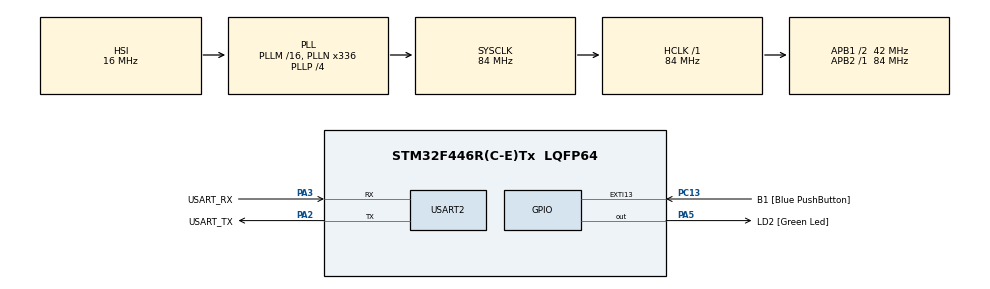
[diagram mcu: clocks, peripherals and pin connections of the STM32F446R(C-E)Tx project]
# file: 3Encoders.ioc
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Mcu.Family=STM32F4
Mcu.Name=STM32F446R(C-E)Tx
Mcu.Package=LQFP64
NVIC.PriorityGroup=NVIC_PRIORITYGROUP_0
PA13.GPIO_Label=TMS
PA13.Mode=Serial_Wire
PA13.Signal=SYS_JTMS-SWDIO
PA14.GPIO_Label=TCK
PA14.Mode=Serial_Wire
PA14.Signal=SYS_JTCK-SWCLK
PA2.GPIO_Label=USART_TX
PA2.Mode=Asynchronous
PA2.Signal=USART2_TX
PA3.GPIO_Label=USART_RX
PA3.Mode=Asynchronous
PA3.Signal=USART2_RX
PA5.GPIO_Label=LD2 [Green Led]
PA5.Signal=GPIO_Output
PB3.GPIO_Label=SWO
PB3.Signal=SYS_JTDO-SWO
PC13.GPIO_Label=B1 [Blue PushButton]
PC13.GPIO_ModeDefaultEXTI=GPIO_MODE_IT_FALLING
PC13.Signal=GPXTI13
PC14-OSC32_IN.Mode=LSE-External-Oscillator
PC14-OSC32_IN.Signal=RCC_OSC32_IN
PC15-OSC32_OUT.Mode=LSE-External-Oscillator
PC15-OSC32_OUT.Signal=RCC_OSC32_OUT
PH0-OSC_IN.Mode=HSE-External-Oscillator
PH0-OSC_IN.Signal=RCC_OSC_IN
PH1-OSC_OUT.Mode=HSE-External-Oscillator
PH1-OSC_OUT.Signal=RCC_OSC_OUT
ProjectManager.HeapSize=0x200
ProjectManager.StackSize=0x400
ProjectManager.TargetToolchain=STM32CubeIDE
RCC.48MHZClocksFreq_Value=84000000
RCC.AHBFreq_Value=84000000
RCC.APB1CLKDivider=RCC_HCLK_DIV2
RCC.APB1Freq_Value=42000000
RCC.APB1TimFreq_Value=84000000
RCC.APB2Freq_Value=84000000
RCC.APB2TimFreq_Value=84000000
RCC.CortexFreq_Value=84000000
RCC.FLatency-AdvancedSettings=FLASH_LATENCY_2
RCC.HCLKFreq_Value=84000000
RCC.HSE_VALUE=8000000
RCC.HSI_VALUE=16000000
RCC.PLLN=336
RCC.PLLP=RCC_PLLP_DIV4
RCC.SYSCLKFreq_VALUE=84000000
RCC.SYSCLKSource=RCC_SYSCLKSOURCE_PLLCLK
RCC.USBFreq_Value=168000000
RCC.VCOOutputFreq_Value=336000000
USART2.VirtualMode=VM_ASYNC
board=NUCLEO-F446RE

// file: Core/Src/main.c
/* USER CODE BEGIN Header */
/**
 ******************************************************************************
 * @file           : main.c
 * @brief          : Main program body
 ******************************************************************************
 * @attention
 *
 * Copyright (c) 2025 STMicroelectronics.
 * All rights reserved.
 *
 * This software is licensed under terms that can be found in the LICENSE file
 * in the root directory of this software component.
 * If no LICENSE file comes with this software, it is provided AS-IS.
 *
 ******************************************************************************
 */
/* USER CODE END Header */
#include "main.h"

/* USER CODE BEGIN Includes */
#include <stdio.h>
/* USER CODE END Includes */

UART_HandleTypeDef huart2;

void SystemClock_Config(void);
static void MX_GPIO_Init(void);
static void MX_USART2_UART_Init(void);

/* USER CODE BEGIN 0 */

void Channel_A_Config(void) {
	uint32_t *pAHB1ClkCtrlReg = (uint32_t*) 0x40023830; // address of AHB1 clock control register
	uint32_t *pAFRLPortAReg = (uint32_t*) 0x40020024; // address of alternate function register of port A
	uint32_t *pPortAModeReg = (uint32_t*) 0x40020000; // address of port A mode register
	uint32_t *pPortAPullUpReg = (uint32_t*) 0x4002000C; // address of port A pull up register

	*pAHB1ClkCtrlReg |= 0x1;        // port A clock enable
	*pAFRLPortAReg |= 0x00010000; // alternate function of Timer 2 Channel 1 enabled
	*pPortAModeReg &= 0x3FFFFFFF;
	*pPortAModeReg |= 0x80000000; // port A Pin 15 configured for 'Alternate function'
	*pPortAPullUpReg |= 0x40000000;    // port A Pin 15 pulled up
}

void Channel_B_Config(void) {
	uint32_t *pAHB1ClkCtrlReg = (uint32_t*) 0x40023830; // address of AHB1 clock control register
	uint32_t *pAFRLPortBReg = (uint32_t*) 0x40020420; // address of alternate function register of port B
	uint32_t *pPortBModeReg = (uint32_t*) 0x40020400; // address of port B mode register
	uint32_t *pPortBPullUpReg = (uint32_t*) 0x4002040C; // address of port B pull up register

	*pAHB1ClkCtrlReg |= 0x2;        // port B clock enable
	*pAFRLPortBReg |= 0x00100000; // alternate function of Timer 2 Channel 2 enabled
	*pPortBModeReg &= 0xFFFFFF3F;
	*pPortBModeReg |= 0x00000080; // port B Pin 3 configured for 'Alternate function'
	*pPortBPullUpReg |= 0x0040;     // port B Pin 3 pulled up
}

void Encoder_Init(uint32_t ARR_Value) {
	uint32_t *pAPB1ClkCtrlReg = (uint32_t*) 0x40023840; // address of APB2 clock control register
	uint32_t *pTimer2ArrReg = (uint32_t*) 0x4000002C; // address of timer 2 auto reload register
	uint32_t *pTimer2CCMR1Reg = (uint32_t*) 0x40000018; // address of timer 2 capture/compare register
	uint32_t *pTimer2CcerReg = (uint32_t*) 0x40000020; // address of timer 2 capture/compare enable register
	uint32_t *pTimer2SmcrReg = (uint32_t*) 0x40000008; // address of timer 2 slave mode control register
	uint32_t *pTimer2CR1Reg = (uint32_t*) 0x40000000; // address of timer 2 control register 1

	*pAPB1ClkCtrlReg |= 0x1;           //timer 2 clock enable
	*pTimer2ArrReg = ARR_Value - 1; // maximum count value for counter
	*pTimer2CCMR1Reg |= 0x1; // mapping 'Input capture 1' mode in timer 2 Channel 1 and configuring it as input
	*pTimer2CCMR1Reg |= 0x100; // mapping 'Input capture 2' mode in timer 2 Channel 2 and configuring it as input
	*pTimer2CcerReg |= 0x2;   // channel 1 triggered at rising edge
	*pTimer2CcerReg |= 0x20;  // channel 2 triggered at rising edge
	*pTimer2SmcrReg |= 0x3; // counter counts up/down on both channel 1 and channel 2 edges depending on the level of the other input.
	*pTimer2CR1Reg |= 0x1;   // counter enable
}

uint16_t Get_Encoder_Counts() {
	uint32_t *pTimer2CNTReg = (uint32_t*) 0x40000024; // address of timer 2 counter register
	return *pTimer2CNTReg; // reading counts from counter register

}

/* USER CODE END 0 */

int main(void) {

	/* MCU Configuration--------------------------------------------------------*/

	/* Reset of all peripherals, Initializes the Flash interface and the Systick. */
	HAL_Init();

	/* Configure the system clock */
	SystemClock_Config();

	/* Initialize all configured peripherals */
	MX_GPIO_Init();
	MX_USART2_UART_Init();
	/* USER CODE BEGIN 2 */
	Channel_A_Config();
	Channel_B_Config();
	Encoder_Init(4294967295);
	/* USER CODE END 2 */

	/* Infinite loop */
	while (1) {

		/* USER CODE BEGIN 3 */
		printf("%u\r\n", Get_Encoder_Counts());
	}
	/* USER CODE END 3 */
}

void SystemClock_Config(void) {
	RCC_OscInitTypeDef RCC_OscInitStruct = { 0 };
	RCC_ClkInitTypeDef RCC_ClkInitStruct = { 0 };

	/** Configure the main internal regulator output voltage
	 */
	__HAL_RCC_PWR_CLK_ENABLE();
	__HAL_PWR_VOLTAGESCALING_CONFIG(PWR_REGULATOR_VOLTAGE_SCALE3);

	/** Initializes the RCC Oscillators according to the specified parameters
	 * in the RCC_OscInitTypeDef structure.
	 */
	RCC_OscInitStruct.OscillatorType = RCC_OSCILLATORTYPE_HSI;
	RCC_OscInitStruct.HSIState = RCC_HSI_ON;
	RCC_OscInitStruct.HSICalibrationValue = RCC_HSICALIBRATION_DEFAULT;
	RCC_OscInitStruct.PLL.PLLState = RCC_PLL_ON;
	RCC_OscInitStruct.PLL.PLLSource = RCC_PLLSOURCE_HSI;
	RCC_OscInitStruct.PLL.PLLM = 16;
	RCC_OscInitStruct.PLL.PLLN = 336;
	RCC_OscInitStruct.PLL.PLLP = RCC_PLLP_DIV4;
	RCC_OscInitStruct.PLL.PLLQ = 2;
	RCC_OscInitStruct.PLL.PLLR = 2;
	if (HAL_RCC_OscConfig(&RCC_OscInitStruct) != HAL_OK) {
		Error_Handler();
	}

	/** Initializes the CPU, AHB and APB buses clocks
	 */
	RCC_ClkInitStruct.ClockType = RCC_CLOCKTYPE_HCLK | RCC_CLOCKTYPE_SYSCLK
			| RCC_CLOCKTYPE_PCLK1 | RCC_CLOCKTYPE_PCLK2;
	RCC_ClkInitStruct.SYSCLKSource = RCC_SYSCLKSOURCE_PLLCLK;
	RCC_ClkInitStruct.AHBCLKDivider = RCC_SYSCLK_DIV1;
	RCC_ClkInitStruct.APB1CLKDivider = RCC_HCLK_DIV2;
	RCC_ClkInitStruct.APB2CLKDivider = RCC_HCLK_DIV1;

	if (HAL_RCC_ClockConfig(&RCC_ClkInitStruct, FLASH_LATENCY_2) != HAL_OK) {
		Error_Handler();
	}
}

static void MX_USART2_UART_Init(void) {

	huart2.Instance = USART2;
	huart2.Init.BaudRate = 115200;
	huart2.Init.WordLength = UART_WORDLENGTH_8B;
	huart2.Init.StopBits = UART_STOPBITS_1;
	huart2.Init.Parity = UART_PARITY_NONE;
	huart2.Init.Mode = UART_MODE_TX_RX;
	huart2.Init.HwFlowCtl = UART_HWCONTROL_NONE;
	huart2.Init.OverSampling = UART_OVERSAMPLING_16;
	if (HAL_UART_Init(&huart2) != HAL_OK) {
		Error_Handler();
	}

}

static void MX_GPIO_Init(void) {
	GPIO_InitTypeDef GPIO_InitStruct = { 0 };

	/* GPIO Ports Clock Enable */
	__HAL_RCC_GPIOC_CLK_ENABLE();
	__HAL_RCC_GPIOH_CLK_ENABLE();
	__HAL_RCC_GPIOA_CLK_ENABLE();
	__HAL_RCC_GPIOB_CLK_ENABLE();

	/*Configure GPIO pin Output Level */
	HAL_GPIO_WritePin(LD2_GPIO_Port, LD2_Pin, GPIO_PIN_RESET);

	/*Configure GPIO pin : B1_Pin */
	GPIO_InitStruct.Pin = B1_Pin;
	GPIO_InitStruct.Mode = GPIO_MODE_IT_FALLING;
	GPIO_InitStruct.Pull = GPIO_NOPULL;
	HAL_GPIO_Init(B1_GPIO_Port, &GPIO_InitStruct);

	/*Configure GPIO pin : LD2_Pin */
	GPIO_InitStruct.Pin = LD2_Pin;
	GPIO_InitStruct.Mode = GPIO_MODE_OUTPUT_PP;
	GPIO_InitStruct.Pull = GPIO_NOPULL;
	GPIO_InitStruct.Speed = GPIO_SPEED_FREQ_LOW;
	HAL_GPIO_Init(LD2_GPIO_Port, &GPIO_InitStruct);

}

/* USER CODE BEGIN 4 */
int _write(int file, char *ptr, int len) {
	HAL_UART_Transmit(&huart2, (uint8_t*) ptr, len, HAL_MAX_DELAY);
	return len;
}
/* USER CODE END 4 */

void Error_Handler(void) {
	__disable_irq();
	while (1) {
	}
}
